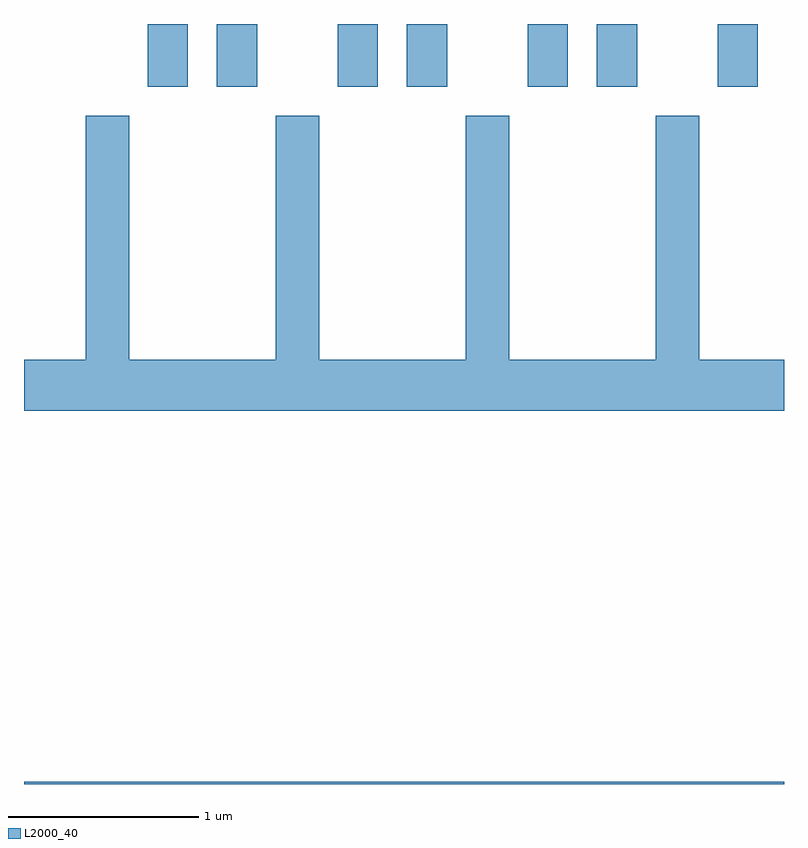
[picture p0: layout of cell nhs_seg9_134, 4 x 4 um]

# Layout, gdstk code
import gdstk
lib = gdstk.Library(unit=1e-6, precision=1e-09)
def R(c, l, rs):  # rectangles x0, y0, x1, y1
    for r in rs: c.add(gdstk.rectangle(r[:2], r[2:], *l))
def P(c, l, *ps):  # polygons
    for p in ps: c.add(gdstk.Polygon(p, *l))
L2000_40 = (2000, 40)

nhs_seg9_134 = lib.new_cell('nhs_seg9_134')
R(nhs_seg9_134, L2000_40, [(187.611,2076.432,191.611,2076.444), (188.261,2080.101,188.474,2080.432), (188.626,2080.101,188.839,2080.432), (189.261,2080.101,189.474,2080.432), (189.626,2080.101,189.839,2080.432), (190.261,2080.101,190.474,2080.432), (190.626,2080.101,190.839,2080.432), (191.261,2080.101,191.474,2080.432)])
P(nhs_seg9_134, L2000_40, [(191.611,2078.664),(191.164,2078.664),(191.164,2079.949),(190.936,2079.949),(190.936,2078.664),(190.164,2078.664),(190.164,2079.949),(189.936,2079.949),(189.936,2078.664),(189.164,2078.664),(189.164,2079.949),(188.936,2079.949),(188.936,2078.664),(188.164,2078.664),(188.164,2079.949),(187.936,2079.949),(187.936,2078.664),(187.611,2078.664),(187.611,2078.396),(191.611,2078.396)])

lib.write_gds('nhs_seg9_134.gds')
